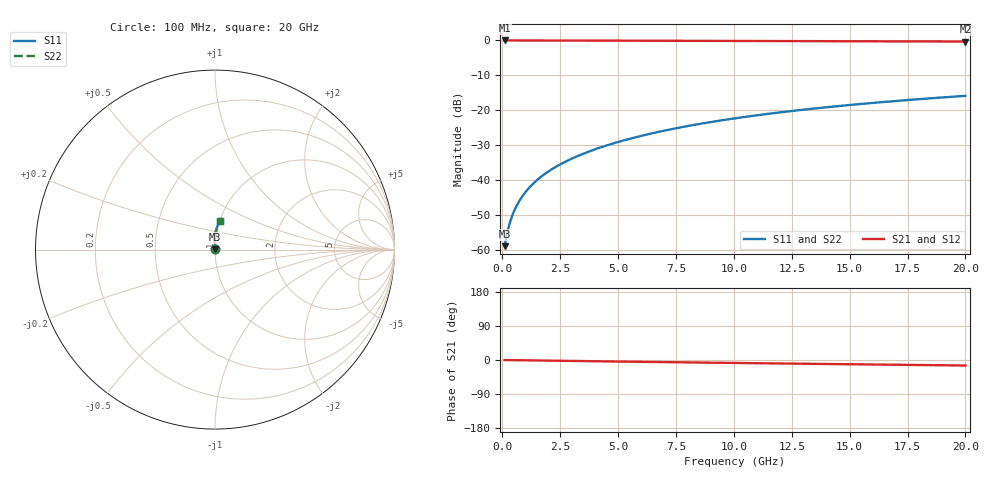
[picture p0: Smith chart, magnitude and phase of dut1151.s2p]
! Touchstone file exported from HFSS 2024.1.0
!  File:  C:/UserFiles/LocalFiles/RDL_TSV_Batchsim/temp_RDL_top_1151_1780048161.aedt
!  Generated:  05:51:34 PM May 29, 2026
!  Design:  RDL_top
!  Project:  temp_RDL_top_1151_1780048161
!  Setup:  Setup1
!  Solution:  Sweep
! Variables:
!  dtsv = 10.80580581um
!  hbump = 3um
!  htsv = 94.55um
!  ldown = 100um
!  lrdl = 165.23um
!  p = 40
!  p1 = 57.47um
!  rhole = 1um
!  t = 450um
!  tdown = 3.915915916um
!  trdl = 3.43um
!  wdown = 15.38538539um
!  wrdl = 26.98um
# GHz S MA R 50.000000
! Terminal data exported
! Port[1] = Box2_T1
! Port[2] = Box2_T2
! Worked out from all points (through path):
!   200 points, 100 MHz to 20 GHz, reference 50 ohm
!   highest |S21| = -0.01 dB at 100 MHz (marker M1); lowest = -0.3 dB at 20 GHz (marker M2)
!   group delay of S21, straight-line fit = 2 ps
!   lowest |S11| = -58.8 dB at 100 MHz (marker M3), VSWR 1.00, Z = 50.1 + j0.0732 ohm
!   |S11| at or under -10 dB: start of sweep to end of sweep
!   |S22| runs from -58.8 to -15.8 dB; largest |S21 - S12| = 5.2e-15
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0.1  0.001148 39.5  0.9991 -0.1  0.9991 -0.1  0.001148 39.5
! Gamma 0 0 0 0
! Port Impedance 50 0 50 0
0.2  0.001708 57.1  0.9991 -0.2  0.9991 -0.2  0.001708 57.1
0.3  0.002322 65.4  0.999 -0.3  0.999 -0.3  0.002322 65.4
0.4  0.002946 70.3  0.9989 -0.3  0.9989 -0.3  0.002946 70.3
0.5  0.003574 73.6  0.9989 -0.4  0.9989 -0.4  0.003574 73.6
0.6  0.004208 76.1  0.9988 -0.5  0.9988 -0.5  0.004208 76.1
0.8  0.005489 79.5  0.9987 -0.7  0.9987 -0.7  0.005489 79.5
1.1  0.007444 82.7  0.9985 -0.9  0.9985 -0.9  0.007444 82.7
1.5  0.0101 85.3  0.9982 -1.3  0.9982 -1.3  0.0101 85.3
1.8  0.01212 86.6  0.9979 -1.5  0.9979 -1.5  0.01212 86.6
2.1  0.01416 87.5  0.9976 -1.8  0.9976 -1.8  0.01416 87.5
2.7  0.01834 89.0  0.9968 -2.3  0.9968 -2.3  0.01834 89.0
3.5  0.02408 90.2  0.9955 -2.9  0.9955 -2.9  0.02408 90.2
4.2  0.02927 90.8  0.9943 -3.5  0.9943 -3.5  0.02927 90.8
5  0.03539 91.2  0.9927 -4.1  0.9927 -4.1  0.03539 91.2
5.9  0.0425 91.3  0.9908 -4.8  0.9908 -4.8  0.0425 91.3
6.8  0.04979 91.2  0.9889 -5.5  0.9889 -5.5  0.04979 91.2
8.4  0.0631 90.5  0.9856 -6.7  0.9856 -6.7  0.0631 90.5
10.1  0.07753 89.3  0.9821 -7.9  0.9821 -7.9  0.07753 89.3
13.4  0.1058 86.7  0.9757 -10.1  0.9757 -10.1  0.1058 86.7
16.7  0.1339 83.8  0.9695 -12.4  0.9695 -12.4  0.1339 83.8
20  0.1614 81.0  0.9633 -14.6  0.9633 -14.6  0.1614 81.0
